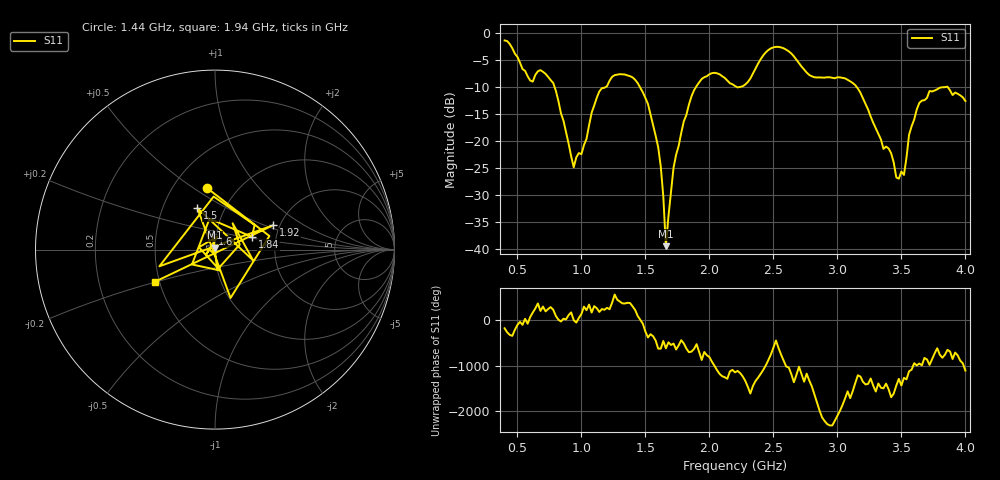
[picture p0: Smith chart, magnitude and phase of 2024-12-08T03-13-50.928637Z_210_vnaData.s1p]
!Created with skrf (http://scikit-rf.org).
# Hz S RI R 50.0
!freq ReS11 ImS11
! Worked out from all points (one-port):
!   181 points, 400 MHz to 4 GHz, reference 50 ohm
!   lowest |S11| = -39.4 dB at 1.66 GHz (marker M1), VSWR 1.02, Z = 49.7 + j1.03 ohm
!   |S11| at or under -10 dB: 790.8 MHz to 1.188 GHz (397.6 MHz wide, 40.2 % of centre); 1.458 GHz to 1.895 GHz (437.4 MHz wide, 26.1 % of centre); 3.151 GHz to 3.841 GHz (689.6 MHz wide, 19.7 % of centre) (the widest 3 of 5)
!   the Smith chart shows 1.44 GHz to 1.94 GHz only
!   S11 on the Smith chart (normalised r, x): 1.44 GHz: 0.73, +0.57; 1.5 GHz: 0.74, +0.37; 1.6 GHz: 0.96, +0.17; 1.84 GHz: 1.50, +0.22; 1.92 GHz: 1.84, +0.57; 1.94 GHz: 0.48, -0.20
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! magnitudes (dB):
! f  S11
! 400 MHz  -1.4
! 600 MHz  -8.8
! 780 MHz  -9.2
! 860 MHz  -16.2
! 940 MHz  -24.8
! 1.14 GHz  -10.8
! 1.3 GHz  -7.6
! 1.44 GHz  -9.3
! 1.5 GHz  -12.0
! 1.6 GHz  -21.1
! 1.64 GHz  -30.3
! 1.66 GHz  -39.4
! 1.72 GHz  -24.9
! 1.76 GHz  -20.8
! 1.84 GHz  -13.2
! 1.92 GHz  -9.1
! 1.94 GHz  -8.5
! 2.2 GHz  -9.8
! 2.48 GHz  -2.8
! 2.66 GHz  -4.3
! 2.8 GHz  -8.0
! 3.1 GHz  -8.9
! 3.42 GHz  -22.2
! 3.46 GHz  -26.7
! 3.52 GHz  -26.2
! 3.56 GHz  -18.8
! 3.72 GHz  -10.7
! 4 GHz  -12.6
